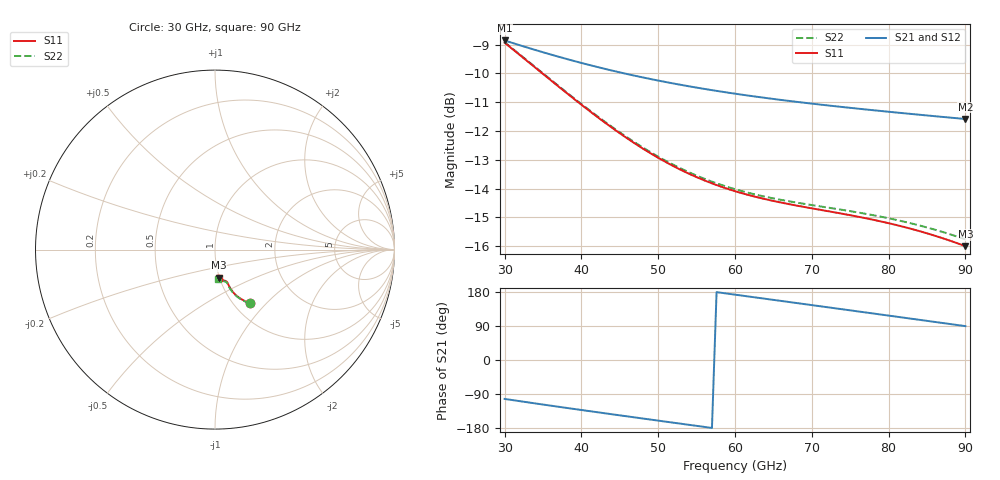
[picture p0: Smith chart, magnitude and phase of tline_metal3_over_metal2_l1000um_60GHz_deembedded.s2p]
! Created with skrf 2.0.1 (http://scikit-rf.org).
# GHz S DB R 50.0
!freq dBS11 angS11 dBS21 angS21 dBS12 angS12 dBS22 angS22
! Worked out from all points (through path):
!   101 points, 30 GHz to 90 GHz, reference 50 ohm
!   highest |S21| = -8.86 dB at 30 GHz (marker M1); lowest = -11.6 dB at 90 GHz (marker M2)
!   group delay of S21, straight-line fit = 7.72 ps
!   lowest |S11| = -16.0 dB at 90 GHz (marker M3), VSWR 1.38, Z = 49.7 - j16 ohm
!   |S11| at or under -10 dB: 34.91 GHz to end of sweep
!   |S22| runs from -15.8 to -8.9 dB; largest |S21 - S12| = 3.2e-13
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30  -8.94 -56.5  -8.86 -102.7  -8.86 -102.7  -8.92 -56.8
33  -9.58 -59.8  -9.11 -111.7  -9.11 -111.7  -9.57 -60.1
35.4  -10.11 -62.0  -9.30 -118.7  -9.30 -118.7  -10.09 -62.4
37.8  -10.62 -63.9  -9.48 -125.6  -9.48 -125.6  -10.60 -64.3
40.2  -11.13 -65.4  -9.65 -132.5  -9.65 -132.5  -11.10 -65.8
42.6  -11.62 -66.6  -9.81 -139.3  -9.81 -139.3  -11.59 -67.0
45  -12.08 -67.5  -9.97 -146.0  -9.97 -146.0  -12.05 -68.0
47.4  -12.51 -68.2  -10.11 -152.7  -10.11 -152.7  -12.47 -68.6
50.4  -12.99 -68.7  -10.27 -161.1  -10.27 -161.1  -12.95 -69.2
52.8  -13.33 -68.9  -10.39 -167.7  -10.39 -167.7  -13.28 -69.5
55.2  -13.62 -69.1  -10.50 -174.3  -10.50 -174.3  -13.57 -69.6
57.6  -13.87 -69.2  -10.61 179.1  -10.61 179.1  -13.81 -69.8
60  -14.09 -69.4  -10.71 172.4  -10.71 172.4  -14.02 -70.1
64.8  -14.42 -70.0  -10.88 159.2  -10.88 159.2  -14.33 -70.8
67.2  -14.55 -70.6  -10.96 152.6  -10.96 152.6  -14.45 -71.5
70.2  -14.69 -71.5  -11.06 144.3  -11.06 144.3  -14.58 -72.5
73.2  -14.83 -72.7  -11.14 136.0  -11.14 136.0  -14.70 -73.8
75.6  -14.95 -73.8  -11.21 129.4  -11.21 129.4  -14.81 -75.0
80.4  -15.22 -76.3  -11.34 116.1  -11.34 116.1  -15.05 -77.8
85.2  -15.57 -79.2  -11.47 102.7  -11.47 102.7  -15.36 -81.0
87.6  -15.77 -80.6  -11.53 96.1  -11.53 96.1  -15.55 -82.6
90  -16.00 -82.0  -11.58 89.4  -11.58 89.4  -15.76 -84.3
